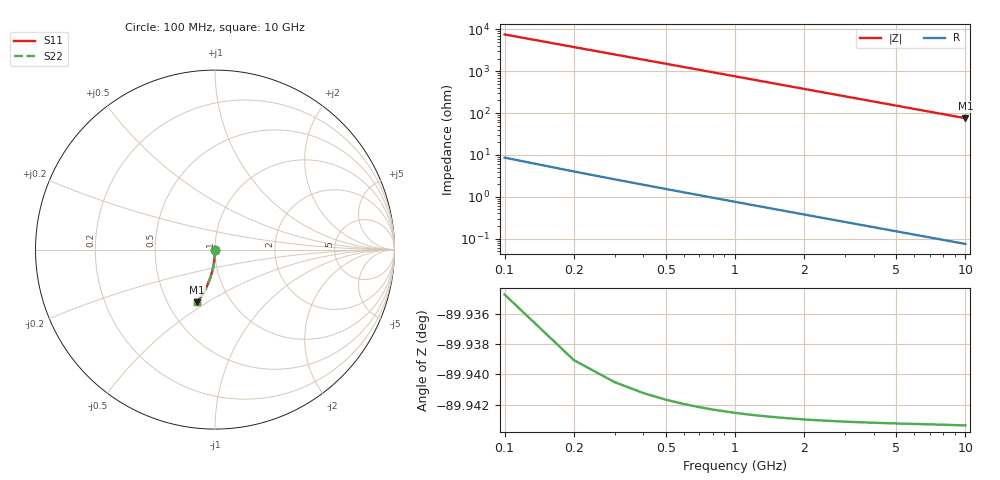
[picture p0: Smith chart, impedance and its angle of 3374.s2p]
# Hz S RI R 50.00
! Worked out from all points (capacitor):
!   100 points, 100 MHz to 10 GHz, reference 50 ohm
!   read as one part in shunt: C = 211 fF near 100 MHz
!   lowest |Z| = 75.5 ohm at 10 GHz (marker M1)
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1e8  -2.1e-06 -0.00326  1 -0.00336  1 -0.00336  -2.1e-06 -0.00326
2e8  -3.81e-05 -0.00652  0.9999 -0.00672  0.9999 -0.00672  -3.81e-05 -0.00652
3e8  -9.61e-05 -0.00978  0.9999 -0.0101  0.9999 -0.0101  -9.61e-05 -0.00978
4e8  -0.000176 -0.013  0.9998 -0.0134  0.9998 -0.0134  -0.000176 -0.013
5e8  -0.000278 -0.0163  0.9997 -0.0168  0.9997 -0.0168  -0.000278 -0.0163
6e8  -0.000401 -0.0195  0.9996 -0.0202  0.9996 -0.0202  -0.000401 -0.0195
7e8  -0.000547 -0.0228  0.9994 -0.0235  0.9994 -0.0235  -0.000547 -0.0228
8e8  -0.000714 -0.0261  0.9993 -0.0269  0.9993 -0.0269  -0.000714 -0.0261
9e8  -0.000903 -0.0293  0.9991 -0.0302  0.9991 -0.0302  -0.000903 -0.0293
1.1e9  -0.00135 -0.0358  0.9986 -0.0369  0.9986 -0.0369  -0.00135 -0.0358
1.4e9  -0.00218 -0.0455  0.9978 -0.0469  0.9978 -0.0469  -0.00218 -0.0455
1.8e9  -0.00358 -0.0585  0.9964 -0.0603  0.9964 -0.0603  -0.00358 -0.0585
2.1e9  -0.00487 -0.0681  0.9951 -0.0703  0.9951 -0.0703  -0.00487 -0.0681
2.5e9  -0.00687 -0.0809  0.9931 -0.0835  0.9931 -0.0835  -0.00687 -0.0809
2.9e9  -0.00922 -0.0937  0.9908 -0.0966  0.9908 -0.0966  -0.00922 -0.0937
3.4e9  -0.0126 -0.1095  0.9873 -0.1129  0.9873 -0.1129  -0.0126 -0.1095
4.2e9  -0.0191 -0.1343  0.9809 -0.1386  0.9809 -0.1386  -0.0191 -0.1343
5.1e9  -0.0279 -0.1617  0.972 -0.1669  0.972 -0.1669  -0.0279 -0.1617
5.9e9  -0.037 -0.1853  0.9629 -0.1914  0.9629 -0.1914  -0.037 -0.1853
6.7e9  -0.0472 -0.2082  0.9527 -0.2151  0.9527 -0.2151  -0.0472 -0.2082
8.4e9  -0.0723 -0.2541  0.9277 -0.2628  0.9277 -0.2628  -0.0723 -0.2541
1e10  -0.0994 -0.2935  0.9005 -0.304  0.9005 -0.304  -0.0994 -0.2935
